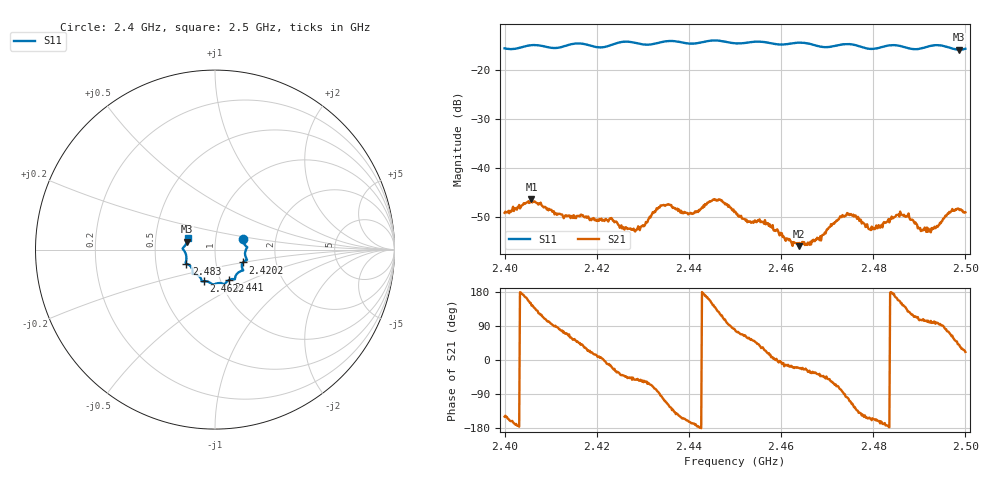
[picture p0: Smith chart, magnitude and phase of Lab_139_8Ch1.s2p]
# Hz S RI R 50
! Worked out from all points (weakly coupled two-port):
!   601 points, 2.4 GHz to 2.5 GHz, reference 50 ohm
!   highest |S21| = -46.23 dB at 2.4058 GHz (marker M1); lowest = -55.9 dB at 2.4638 GHz (marker M2)
!   lowest |S11| = -15.8 dB at 2.4987 GHz (marker M3), VSWR 1.39, Z = 36.4 + j3.33 ohm
!   |S11| at or under -10 dB: start of sweep to end of sweep
!   S12 and S22 are empty: the file has one direction only
!   S11 on the Smith chart (normalised r, x): 2.4 GHz: 1.36, +0.17; 2.4202 GHz: 1.35, -0.20; 2.441 GHz: 1.09, -0.39; 2.4622 GHz: 0.83, -0.30; 2.483 GHz: 0.72, -0.12; 2.5 GHz: 0.73, +0.09
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2.4e9  0.1556 0.0603  -0.00304 -0.00179  0 0  0 0
2.405833e9  0.1794 0.014  -0.00393 0.00289  0 0  0 0
2.412667e9  0.1698 -0.0383  0.000958 0.0031  0 0  0 0
2.416667e9  0.1775 -0.0582  0.00254 0.00222  0 0  0 0
2.420167e9  0.1558 -0.0717  0.00287 0.000419  0 0  0 0
2.428333e9  0.1493 -0.1182  0.0014 -0.00179  0 0  0 0
2.433333e9  0.1127 -0.1527  0.000396 -0.00394  0 0  0 0
2.441e9  0.0765 -0.1704  -0.00338 -0.000746  0 0  0 0
2.445667e9  0.0529 -0.194  -0.00361 0.0031  0 0  0 0
2.45e9  0.0263 -0.1863  0.000664 0.00358  0 0  0 0
2.457e9  -0.0187 -0.1906  0.00262 0.000889  0 0  0 0
2.462167e9  -0.0633 -0.1761  0.00174 -0.000469  0 0  0 0
2.463833e9  -0.072 -0.177  0.00151 -0.000567  0 0  0 0
2.466667e9  -0.0763 -0.1668  0.00151 -0.00104  0 0  0 0
2.474667e9  -0.1254 -0.1356  -0.000773 -0.00336  0 0  0 0
2.479333e9  -0.1318 -0.0991  -0.00215 -0.00102  0 0  0 0
2.483e9  -0.1594 -0.0781  -0.00284 -0.000364  0 0  0 0
2.483333e9  -0.161 -0.0775  -0.00304 -0.000215  0 0  0 0
2.486333e9  -0.1616 -0.0653  -0.00272 0.00192  0 0  0 0
2.492e9  -0.1747 -0.00255  -0.000413 0.00239  0 0  0 0
2.498667e9  -0.1556 0.0445  0.0029 0.00243  0 0  0 0
2.5e9  -0.153 0.0632  0.00332 0.00129  0 0  0 0
